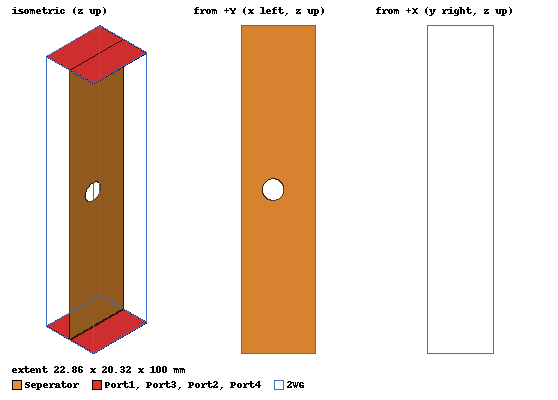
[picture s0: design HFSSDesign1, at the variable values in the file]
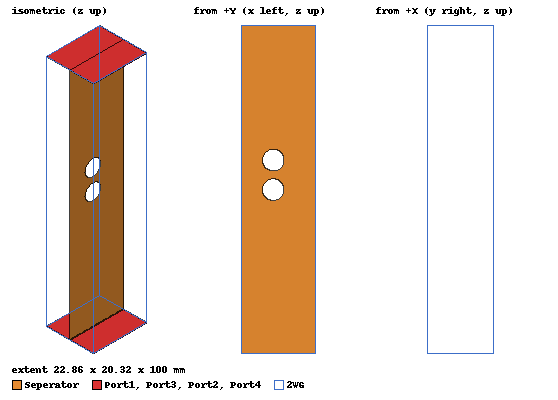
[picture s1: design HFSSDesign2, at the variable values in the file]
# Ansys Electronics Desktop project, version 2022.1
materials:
  vacuum: permittivity=1

design HFSSDesign1 (HFSS, DrivenModal, model units mm)
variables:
  a = 22.86mm
  b = 10.16mm
  l = 100mm
  s = 9.8mm  # optimise 8.654mm..9.5mm; tune 4.327mm..12.981mm
  r0 = 3.3mm  # tune 1.52mm..4.56mm
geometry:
  2WG [vacuum] = box(corner=(-a/2, -b, -l/2), size=(a, 2*b, l))
  Seperator = rectangle(corner=(-a/2, 0mm, -l/2), z_size=l, x_size=a)
  Aperture = circle(normal=Y, centre=(a/2 - s, 0mm, 0mm), radius=r0)
  Seperator.subtract(Aperture)
  plane Plane1 = base (-11.43mm, 0mm, 25mm) normal (3.43mm, 0mm, 0mm)
  coordinate_system RelativeCS1 = origin=(-11.43mm, 0mm, 25mm) x=(1mm, 0mm, 0mm) y=(0mm, 1mm, 0mm)
  plane Plane2 = base (-11.43mm, 0mm, 25mm) normal (22.43mm, 0mm, 0mm)
  plane Plane3 = base (-11.43mm, 0mm, 25mm) normal (22.43mm, 0mm, 0mm)
  plane Plane4 = base (-11.43mm, 0mm, 25mm) normal (22.43mm, 0mm, 0mm)
  Port1 = rectangle(corner=(-a/2, -b, -l/2), x_size=a, y_size=b)
  Port3 = Port1.duplicate_along_line(step=(0mm, b, 0mm), total=2)
  Port2 = Port1.duplicate_along_line(step=(0mm, 0mm, l), total=2)
  Port4 = Port1.duplicate_along_line(step=(0mm, b, l), total=2)
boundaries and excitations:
  PerfE1: Perfect E Objects=Seperator Faces=2WG.face(-x, -y, +x, +y)
  1: Wave Port Objects=Port1 NumModes=1 Modes{Mode1{IntLine{(0, -10.16, -50) -> (0, 0, -50)} CharImp=Zpi}}
  2: Wave Port Objects=Port2 NumModes=1 Modes{Mode1{IntLine{(0, -10.16, 50) -> (0, 0, 50)} CharImp=Zpi}}
  4: Wave Port Objects=Port4 NumModes=1 Modes{Mode1{IntLine{(0, 0, 50) -> (0, 10.16, 50)} CharImp=Zpi}}
  3: Wave Port Objects=Port3 NumModes=1 Modes{Mode1{IntLine{(0, 0, -50) -> (0, 10.16, -50)} CharImp=Zpi}}
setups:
  Setup1: HfssDriven Frequency=8.5GHz MaxDeltaS=0.01 MaximumPasses=60 MinimumPasses=5 MinimumConvergedPasses=2 PercentRefinement=10 BasisOrder=1 PortAccuracy=2 DrivenSolverType="Direct Solver"
    sweep Sweep: 6GHz to 11GHz step 0.01GHz; Type=Fast SaveFields
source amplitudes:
  1:1: 1W 0deg
  2:1, 4:1, 3:1: 0W 0deg
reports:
  Coupled: dB(S(3,1)) vs Freq on Setup1 : Sweep; markers m1 at 8.5GHz
  Isolated: dB(S(4,1)) vs Freq on Setup1 : Sweep; markers m1 at 8.5GHz
  Through: dB(S(2,1)) vs Freq on Setup1 : Sweep; markers m1 at 8.5GHz
  Input: dB(S(1,1)) vs Freq on Setup1 : Sweep; markers m1 at 8.5GHz
  C: -dB(S(3,1)) vs Freq on Setup1 : Sweep; markers m1 at 8.5GHz
  I: -dB(S(4,1)) vs Freq on Setup1 : Sweep; markers m1 at 8.5GHz
  D: dB(S(3,1))/dB(S(4,1)) vs Freq on Setup1 : Sweep; markers m1 at 8.5GHz

design HFSSDesign2 (HFSS, DrivenModal, model units mm)
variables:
  a = 22.86mm
  b = 10.16mm
  l = 100mm
  s = 9.8mm  # optimise 8.654mm..9.5mm; tune 4.327mm..12.981mm
  r0 = 3.3mm  # tune 1.52mm..4.56mm
  d = 9mm
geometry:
  2WG [vacuum] = box(corner=(-a/2, -b, -l/2), size=(a, 2*b, l))
  Seperator = rectangle(corner=(-a/2, 0mm, -l/2), z_size=l, x_size=a)
  Aperture = circle(normal=Y, centre=(a/2 - s, 0mm, 0mm), radius=r0)
  Seperator.subtract(Aperture)
  plane Plane1 = base (-11.43mm, 0mm, 25mm) normal (3.43mm, 0mm, 0mm)
  coordinate_system RelativeCS1 = origin=(-11.43mm, 0mm, 25mm) x=(1mm, 0mm, 0mm) y=(0mm, 1mm, 0mm)
  plane Plane2 = base (-11.43mm, 0mm, 25mm) normal (22.43mm, 0mm, 0mm)
  plane Plane3 = base (-11.43mm, 0mm, 25mm) normal (22.43mm, 0mm, 0mm)
  plane Plane4 = base (-11.43mm, 0mm, 25mm) normal (22.43mm, 0mm, 0mm)
  Port1 = rectangle(corner=(-a/2, -b, -l/2), x_size=a, y_size=b)
  Port3 = Port1.duplicate_along_line(step=(0mm, b, 0mm), total=2)
  Port2 = Port1.duplicate_along_line(step=(0mm, 0mm, l), total=2)
  Port4 = Port1.duplicate_along_line(step=(0mm, b, l), total=2)
  Aperture2 = circle(normal=Y, centre=(a/2-s, 0mm, d), radius=r0)
  Seperator.subtract(Aperture2)
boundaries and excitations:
  PerfE1: Perfect E Objects=Seperator Faces=2WG.face(-x, -y, +x, +y)
  1: Wave Port Objects=Port1 NumModes=1 Modes{Mode1{IntLine{(0, -10.16, -50) -> (0, 0, -50)} CharImp=Zpi}}
  2: Wave Port Objects=Port2 NumModes=1 Modes{Mode1{IntLine{(0, -10.16, 50) -> (0, 0, 50)} CharImp=Zpi}}
  4: Wave Port Objects=Port4 NumModes=1 Modes{Mode1{IntLine{(0, 0, 50) -> (0, 10.16, 50)} CharImp=Zpi}}
  3: Wave Port Objects=Port3 NumModes=1 Modes{Mode1{IntLine{(0, 0, -50) -> (0, 10.16, -50)} CharImp=Zpi}}
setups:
  Setup1: HfssDriven Frequency=8.5GHz MaxDeltaS=0.01 MaximumPasses=60 MinimumPasses=5 MinimumConvergedPasses=2 PercentRefinement=10 BasisOrder=1 PortAccuracy=2 DrivenSolverType="Direct Solver"
    sweep Sweep: 6GHz to 11GHz step 0.01GHz; Type=Fast SaveFields
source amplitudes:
  1:1: 1W 0deg
  2:1, 4:1, 3:1: 0W 0deg
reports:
  Coupled: dB(S(3,1)) vs Freq on Setup1 : Sweep; markers m1 at 8.5GHz
  Isolated: dB(S(4,1)) vs Freq on Setup1 : Sweep; markers m1 at 8.5GHz
  Through: dB(S(2,1)) vs Freq on Setup1 : Sweep; markers m1 at 8.5GHz
  Input: dB(S(1,1)) vs Freq on Setup1 : Sweep; markers m1 at 8.5GHz
  C: -dB(S(3,1)) vs Freq on Setup1 : Sweep; markers m1 at 8.5GHz
  I: -dB(S(4,1)) vs Freq on Setup1 : Sweep; markers m1 at 8.5GHz
  D: dB(S(3,1))/dB(S(4,1)) vs Freq on Setup1 : Sweep; markers m1 at 8.5GHz
